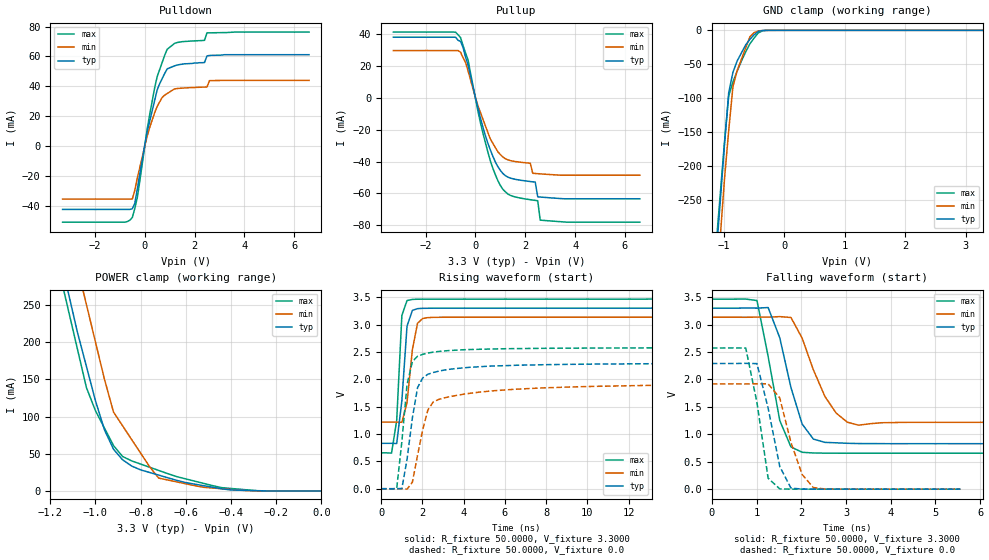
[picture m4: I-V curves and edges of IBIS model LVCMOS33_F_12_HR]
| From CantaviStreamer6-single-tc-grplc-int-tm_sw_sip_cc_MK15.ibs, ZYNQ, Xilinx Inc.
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[Model]  LVCMOS33_F_12_HR
Model_type I/O
Polarity   Non-Inverting
Enable   Active-Low
Vinl =   0.8000V
Vinh =   2.0000V
Vmeas =  1.6500V
Cref =   0.0F
Rref =   1.0000M
Vref =   0.0V
C_comp   5.23pF   5.19pF   5.36pF
[Temperature Range]   25.0000   85.0000   0.0
[Voltage Range]   3.3000V   3.1350V   3.4650V
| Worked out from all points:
|   slope of the pulldown table from 0 to 0.495 V, typ, clamps not added: 13.6 ohm
|   slope of the pullup table from 0 to 0.495 V, typ, clamps not added: 17.4 ohm
|   GND clamp passes 1 mA (typ) near -0.40 V on its own axis
|   POWER clamp passes 1 mA (typ) near -0.36 V on its own axis
|   rising waveform, R_fixture 50.0000, V_fixture 3.3000: 20-80 % time 311ps typ, 361ps min, 228ps max; typ from 0.829 V to 3.3 V
|   rising waveform, R_fixture 50.0000, V_fixture 0.0: 20-80 % time 540ps typ, 777ps min, 448ps max; typ from 0 V to 2.29 V
|   falling waveform, R_fixture 50.0000, V_fixture 3.3000: 20-80 % time 471ps typ, 582ps min, 397ps max; typ from 3.3 V to 0.829 V
|   falling waveform, R_fixture 50.0000, V_fixture 0.0: 20-80 % time 358ps typ, 411ps min, 314ps max; typ from 2.29 V to 0 V
[Pulldown]
|Voltage   I(typ)   I(min)   I(max)
-3.3V     -42.25mA   -35.29mA   -50.77mA
-500mV    -41.79mA   -35.29mA   -47.66mA
-400mV    -38.18mA   -29.46mA   -41.63mA
-300mV    -28.8mA    -21.28mA   -34.4mA
100mV     9.922mA    6.773mA    11.68mA
500mV     37.67mA    26.63mA    46.52mA
900mV     51.69mA    35.2mA     64.73mA
1.2V      53.7mA     38.28mA    68.76mA
2.4V      55.92mA    39.51mA    70.74mA
2.5V      60.33mA    39.57mA    75.74mA
2.6V      60.64mA    43.82mA    75.77mA
6.6V      61.16mA    43.98mA    76.27mA
[Pullup]
|Voltage   I(typ)   I(min)   I(max)
-3.3V     37.86mA    29.52mA    41.07mA
-800mV    37.86mA    29.52mA    41.03mA
-600mV    35.2mA     28.45mA    37.61mA
-300mV    20.53mA    16.85mA    23.73mA
400mV     -23.9mA    -17.74mA   -28.27mA
900mV     -43.27mA   -33.95mA   -52.06mA
1.3V      -49.77mA   -38.95mA   -60.38mA
2.2V      -52.54mA   -41.08mA   -63.92mA
2.4V      -52.89mA   -47.51mA   -64.36mA
2.5V      -62.12mA   -47.63mA   -64.56mA
2.6V      -62.25mA   -47.74mA   -76.71mA
6.6V      -63.35mA   -48.56mA   -78.01mA
[GND_clamp]
|Voltage   I(typ)   I(min)   I(max)
-3.3V     -3.592A    -3.646A    -3.573A
-1.13V    -336.9mA   -404.1mA   -319.4mA
-1.06V    -252.8mA   -305.9mA   -242.5mA
-990mV    -168.8mA   -220.1mA   -165.6mA
-920mV    -92.3mA    -148.1mA   -96.7mA
-850mV    -62.05mA   -83.02mA   -76.37mA
-780mV    -45.15mA   -59.42mA   -60.18mA
-570mV    -13.24mA   -9.559mA   -19.99mA
-500mV    -6.516mA   -3.432mA   -11.32mA
-430mV    -1.536mA   -948uA     -3.743mA
-290mV    -24.77uA   -52.93uA   -110uA
3.28V     18.32nA    1.906uA    13.78nA
[POWER_clamp]
|Voltage   I(typ)   I(min)   I(max)
-3.28V    3.564A     3.617A     3.545A
-1.16V    323.8mA    408.8mA    295.6mA
-1.12V    266.6mA    351.7mA    243.4mA
-1.08V    213.8mA    301.3mA    191.2mA
-1.04V    167.6mA    250.9mA    139.1mA
-960mV    82.09mA    150.1mA    84.5mA
-920mV    56.11mA    106.1mA    61.01mA
-880mV    41.97mA    87.67mA    46.38mA
-840mV    33.52mA    69.28mA    40.45mA
-720mV    21.28mA    17.26mA    27.56mA
-440mV    2.782mA    2.899mA    4.38mA
0V        19.62nA    164.8nA    26.23nA
[Ramp]
| variable   typ   min   max
dV/dt_r  1.3746/0.5300n   1.1472/0.7707n   1.5450/0.4443n
dV/dt_f  1.4825/0.4699n   1.1502/0.5717n   1.6860/0.3868n
R_load = 50.0000
[Rising Waveform]
R_fixture= 50.0000
V_fixture= 3.3000
V_fixture_min= 3.1350
V_fixture_max= 3.46500
|time   V(typ)   V(min)   V(max)
0s        829.2mV    1.218V     655mV
510ps     829.1mV    1.218V     650.9mV
760ps     826mV      1.217V     1.247V
1.01ns    1.606V     1.214V     3.165V
1.26ns    2.97V      1.571V     3.438V
1.52ns    3.258V     2.543V     3.459V
1.77ns    3.29V      3.023V     3.462V
2.02ns    3.296V     3.11V      3.463V
3.79ns    3.299V     3.134V     3.464V
24.49ns   3.3V       3.135V     3.465V
[Rising Waveform]
R_fixture= 50.0000
V_fixture= 0.0
|time   V(typ)   V(min)   V(max)
0s        0V         0V         0V
760ps     -669.3uV   0V         6.376mV
1.01ns    4.353mV    -296uV     860.2mV
1.26ns    534.4mV    -8.171mV   1.903V
1.52ns    1.293V     118.4mV    2.324V
1.77ns    1.846V     608.4mV    2.419V
2.02ns    2.024V     1.077V     2.455V
2.53ns    2.123V     1.586V     2.495V
4.8ns     2.229V     1.766V     2.548V
25ns      2.291V     1.912V     2.575V
[Falling Waveform]
R_fixture= 50.0000
V_fixture= 3.3000
V_fixture_min= 3.1350
V_fixture_max= 3.46500
|time   V(typ)   V(min)   V(max)
0s        3.3V       3.135V     3.465V
1.01ns    3.301V     3.137V     3.439V
1.26ns    3.311V     3.136V     2.419V
1.52ns    2.76V      3.146V     1.252V
1.77ns    1.853V     3.13V      770.3mV
2.02ns    1.188V     2.754V     672.3mV
2.53ns    853.3mV    1.689V     656.6mV
2.78ns    845.2mV    1.388V     655.7mV
3.28ns    831.9mV    1.167V     655.3mV
15.66ns   829.2mV    1.218V     655mV
[Falling Waveform]
R_fixture= 50.0000
V_fixture= 0.0
|time   V(typ)   V(min)   V(max)
0s        2.291V     1.919V     2.574V
760ps     2.294V     1.919V     2.573V
1.01ns    2.289V     1.922V     1.58V
1.26ns    1.477V     1.92V      200.4mV
1.52ns    412mV      1.665V     4.219mV
1.77ns    19.84mV    851.9mV    705.3uV
2.02ns    1.569mV    268.6mV    309.8uV
2.27ns    497.8uV    29.16mV    203.2uV
2.78ns    172.8uV    865.1uV    108.2uV
5.56ns    0V         0V         0V
